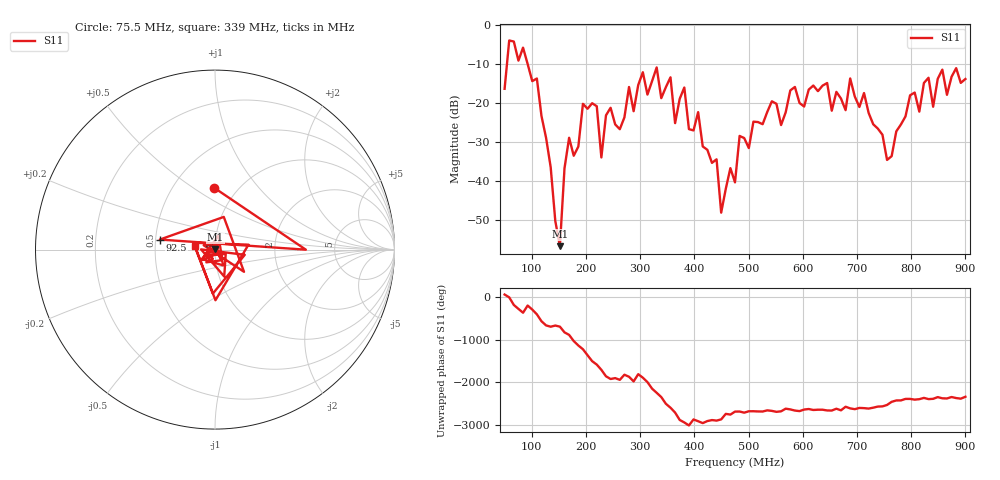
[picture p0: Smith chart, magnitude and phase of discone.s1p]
# HZ S RI R 50
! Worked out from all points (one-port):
!   101 points, 50 MHz to 900 MHz, reference 50 ohm
!   lowest |S11| = -56.8 dB at 152 MHz (marker M1), VSWR 1.00, Z = 50.1 + j0.0746 ohm
!   |S11| at or under -10 dB: start of sweep to 54.43 MHz; 92.29 MHz to end of sweep
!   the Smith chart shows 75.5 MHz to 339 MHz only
!   S11 on the Smith chart (normalised r, x): 75.5 MHz: 0.78, +0.61; 92.5 MHz: 0.53, +0.07; 339 MHz: 0.80, +0.03
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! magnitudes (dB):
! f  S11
! 50 MHz  -16.5
! 58.5 MHz  -4.1
! 75.5 MHz  -9.2
! 92.5 MHz  -10.1
! 109.5 MHz  -13.8
! 152 MHz  -56.8
! 160.5 MHz  -36.8
! 186 MHz  -31.3
! 194.5 MHz  -20.3
! 220 MHz  -20.9
! 228.5 MHz  -34.1
! 245.5 MHz  -21.3
! 262.5 MHz  -26.8
! 305 MHz  -12.2
! 339 MHz  -18.9
! 373 MHz  -19.0
! 441 MHz  -34.5
! 449.5 MHz  -48.2
! 475 MHz  -40.4
! 483.5 MHz  -28.5
! 543 MHz  -19.7
! 560 MHz  -25.7
! 585.5 MHz  -16.0
! 679 MHz  -21.9
! 687.5 MHz  -13.8
! 755.5 MHz  -34.7
! 798 MHz  -18.1
! 900 MHz  -13.9
